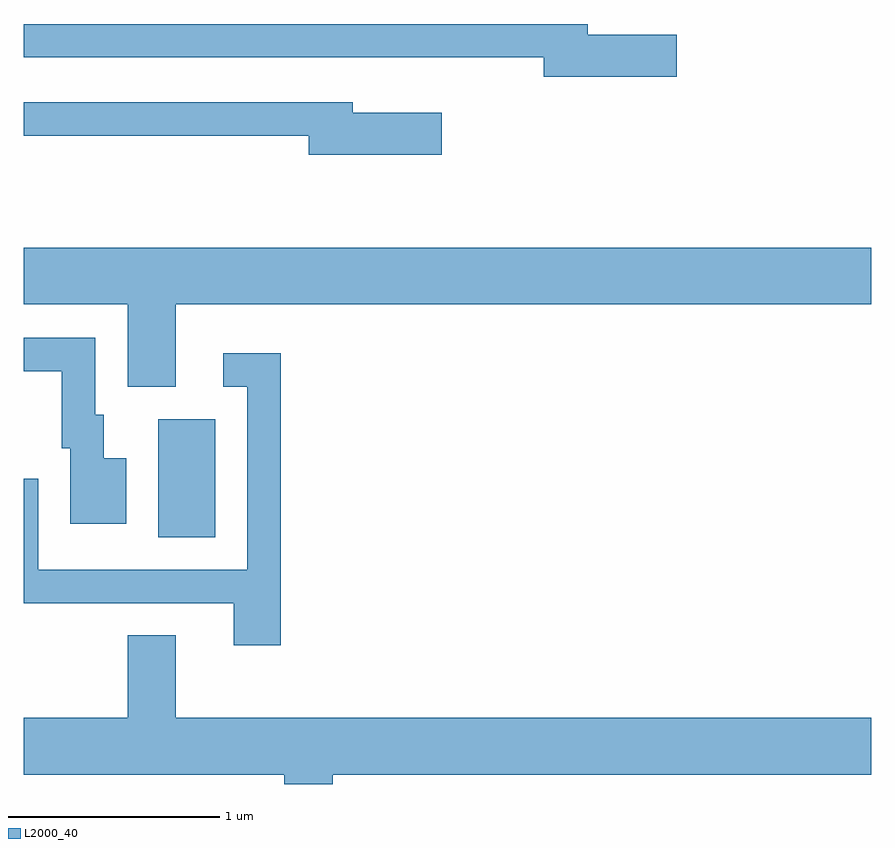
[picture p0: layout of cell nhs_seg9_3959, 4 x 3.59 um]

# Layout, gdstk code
import gdstk
lib = gdstk.Library(unit=1e-6, precision=1e-09)
def R(c, l, rs):  # rectangles x0, y0, x1, y1
    for r in rs: c.add(gdstk.rectangle(r[:2], r[2:], *l))
def P(c, l, *ps):  # polygons
    for p in ps: c.add(gdstk.Polygon(p, *l))
L2000_40 = (2000, 40)

nhs_seg9_3959 = lib.new_cell('nhs_seg9_3959')
R(nhs_seg9_3959, L2000_40, [(302.246,1999.596,302.514,2000.154)])
P(nhs_seg9_3959, L2000_40, [(304.694,2001.969),(304.274,2001.969),(304.274,2002.019),(301.611,2002.019),(301.611,2001.861),(304.066,2001.861),(304.066,2001.771),(304.694,2001.771)],
  [(303.584,2001.599),(303.164,2001.599),(303.164,2001.649),(301.611,2001.649),(301.611,2001.491),(302.956,2001.491),(302.956,2001.401),(303.584,2001.401)],
  [(302.329,2000.696),(305.611,2000.696),(305.611,2000.964),(301.611,2000.964),(301.611,2000.696),(302.101,2000.696),(302.101,2000.306),(302.329,2000.306)],
  [(302.094,1999.969),(301.989,1999.969),(301.989,2000.174),(301.949,2000.174),(301.949,2000.539),(301.611,2000.539),(301.611,2000.381),(301.791,2000.381),(301.791,2000.016),(301.831,2000.016),(301.831,1999.661),(302.094,1999.661)],
  [(302.824,2000.464),(302.553,2000.464),(302.553,2000.306),(302.666,2000.306),(302.666,1999.444),(301.679,1999.444),(301.679,1999.873),(301.611,1999.873),(301.611,1999.286),(302.601,1999.286),(302.601,1999.086),(302.824,1999.086)],
  [(303.069,1998.476),(305.611,1998.476),(305.611,1998.744),(302.329,1998.744),(302.329,1999.134),(302.101,1999.134),(302.101,1998.744),(301.611,1998.744),(301.611,1998.476),(302.841,1998.476),(302.841,1998.432),(303.069,1998.432)])

lib.write_gds('nhs_seg9_3959.gds')
